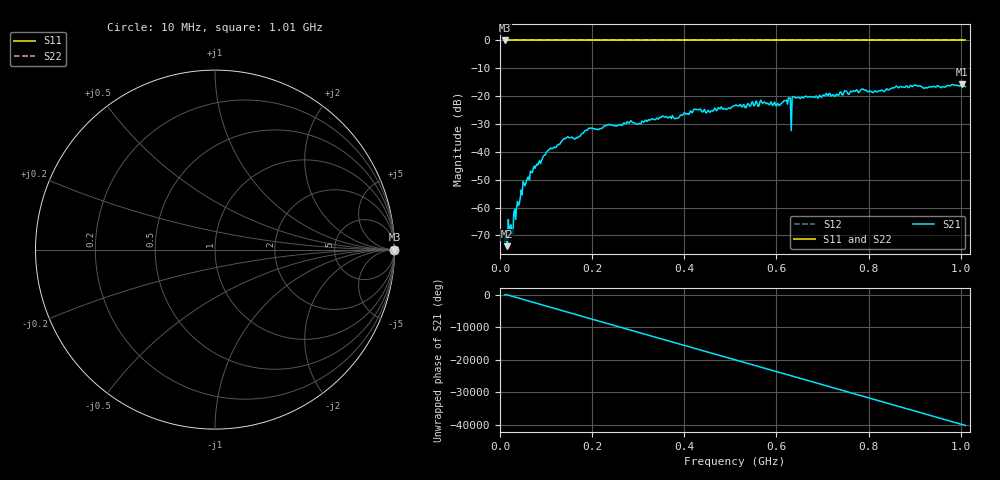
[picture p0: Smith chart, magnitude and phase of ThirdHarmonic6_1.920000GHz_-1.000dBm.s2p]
! 8/16/2025 11:09:18 PM
! C:\ANRITSUVNA\TEMP\TEMP.S2P
! CHANNEL.1
! TR.MEASUREMENT
! RAW.DATA
! RF.CORRECTION.OFF
! AVERAGING.OFF
! IF.BANDWIDTH: 5KHZ
! SWEEPTYPE:  FREQ.SWEEP(Linear)
! Reference Plane Port Info
! PORT:  PORT1  PORT2
! DISTANCE:  0  m  0  m
! TIME:  0  s  0  s
! PHASE.OFFSET:  0  deg.  0  deg.
! LOSS:  0  dB  0  dB
! REF.LOSS:  0  dB  0  dB
! REF.FREQ:  0  Hz  0  Hz
! Power Info
! POWER:  -20  dBm  -20  dBm
! EFF.POWER:  -20  dBm  -20  dBm
! SOURCE.ATTEN:  0  dB  0  dB
! TEST.ATTEN:  0  dB  0  dB
# GHZ S RI R 50.0
! FREQ.GHZ  S11RE  S11IM  S21RE  S21IM  S12RE  S12IM  S22RE  S22IM
!; PortSelection: Port_12
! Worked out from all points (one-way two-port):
!   501 points, 10 MHz to 1.01 GHz, reference 50 ohm
!   highest |S21| = -15.69 dB at 1.002 GHz (marker M1); lowest = -73.9 dB at 16 MHz (marker M2)
!   lowest |S11| = 0.0 dB at 10 MHz (marker M3)
!   |S11| at or under -10 dB: nowhere
!   |S22| runs from 0.0 to 0.0 dB; largest |S21 - S12| = 1.2
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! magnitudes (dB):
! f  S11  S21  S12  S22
! 10 MHz  0.0  -71.9  0.0  0.0
! 16 MHz  0.0  -73.9  0.0  0.0
! 22 MHz  0.0  -67.2  0.0  0.0
! 24 MHz  0.0  -66.2  0.0  0.0
! 34 MHz  0.0  -64.3  0.0  0.0
! 48 MHz  0.0  -55.5  0.0  0.0
! 70 MHz  0.0  -47.5  0.0  0.0
! 106 MHz  0.0  -39.3  0.0  0.0
! 144 MHz  0.0  -34.9  0.0  0.0
! 178 MHz  0.0  -33.4  0.0  0.0
! 196 MHz  0.0  -31.5  0.0  0.0
! 344 MHz  0.0  -28.3  0.0  0.0
! 510 MHz  0.0  -23.3  0.0  0.0
! 604 MHz  0.0  -22.9  0.0  0.0
! 626 MHz  0.0  -20.7  0.0  0.0
! 628 MHz  0.0  -20.6  0.0  0.0
! 636 MHz  0.0  -20.2  0.0  0.0
! 638 MHz  0.0  -20.2  0.0  0.0
! 678 MHz  0.0  -20.2  0.0  0.0
! 844 MHz  0.0  -17.8  0.0  0.0
! 1.002 GHz  0.0  -15.7  0.0  0.0
! 1.01 GHz  0.0  -16.5  0.0  0.0
